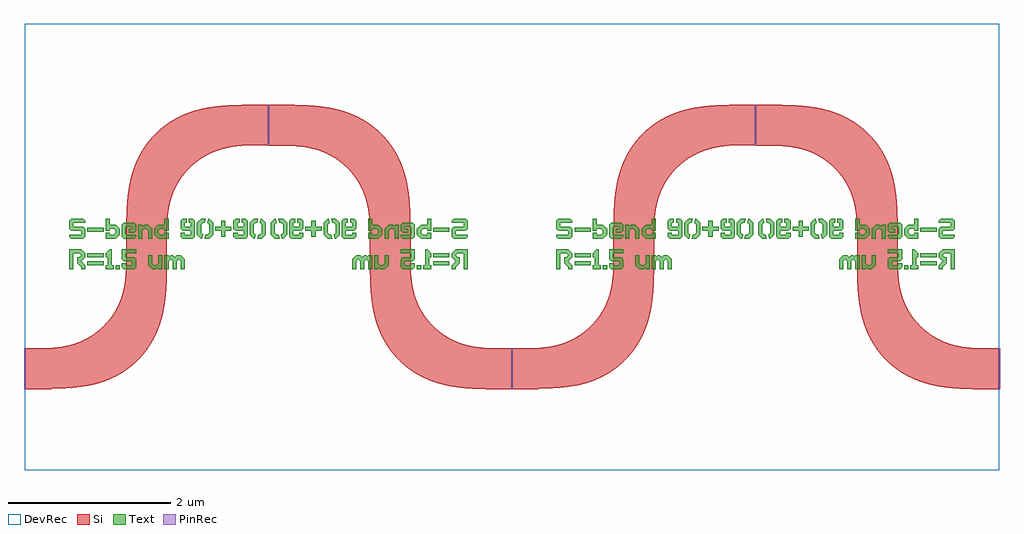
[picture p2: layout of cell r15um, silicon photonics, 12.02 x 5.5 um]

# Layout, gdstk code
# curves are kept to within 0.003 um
from math import pi, radians
import gdstk
lib = gdstk.Library(unit=1e-6, precision=1e-09)
def R(c, l, rs):  # rectangles x0, y0, x1, y1
    for r in rs: c.add(gdstk.rectangle(r[:2], r[2:], *l))
def P(c, l, *ps):  # polygons
    for p in ps: c.add(gdstk.Polygon(p, *l))
Si = (1, 0)
PinRec = (1, 10)
Text = (10, 0)
DevRec = (68, 0)

text_gdsfactorypcomponen = lib.new_cell('text_gdsfactorypcomponentsptextsptext_TSmbend_90+90*R1p_9bf7946b')
R(text_gdsfactorypcomponen, Text, [(0.6,-0.375,0.65,-0.325), (0.25,-0.325,0.45,-0.275), (0.25,-0.225,0.45,-0.175), (0.25,0.088,0.45,0.138)])
P(text_gdsfactorypcomponen, Text, [(1.125,0),(1.075,0.05),(1.075,0.125),(1.125,0.175),(1.2,0.175),(1.2,0.25),(1.25,0.25),(1.25,0.1),(1.2,0.1),(1.2,0.125),(1.15,0.125),(1.125,0.1),(1.125,0.075),(1.15,0.05),(1.2,0.05),(1.2,0.075),(1.25,0.075),(1.25,0)],
  [(0.475,0),(0.475,0.075),(0.525,0.075),(0.525,0.05),(0.575,0.05),(0.6,0.075),(0.6,0.1),(0.575,0.125),(0.525,0.125),(0.525,0.1),(0.475,0.1),(0.475,0.25),(0.525,0.25),(0.525,0.175),(0.6,0.175),(0.65,0.125),(0.65,0.05),(0.6,0)],
  [(2.3,0),(2.25,0.05),(2.25,0.2),(2.3,0.25),(2.358,0.25),(2.345,0.2),(2.325,0.2),(2.3,0.175),(2.3,0.075),(2.325,0.05),(2.313,0)],
  [(1.2,-0.375),(1.2,-0.2),(1.25,-0.2),(1.25,-0.225),(1.275,-0.2),(1.3,-0.2),(1.325,-0.225),(1.35,-0.2),(1.4,-0.2),(1.45,-0.25),(1.45,-0.375),(1.4,-0.375),(1.4,-0.275),(1.375,-0.25),(1.35,-0.275),(1.35,-0.375),(1.3,-0.375),(1.3,-0.275),(1.275,-0.25),(1.25,-0.275),(1.25,-0.375)],
  [(0.05,0),(0.025,0.025),(0.025,0.05),(0.175,0.05),(0.175,0.1),(0.05,0.1),(0.025,0.125),(0.025,0.225),(0.05,0.25),(0.2,0.25),(0.225,0.225),(0.225,0.2),(0.075,0.2),(0.075,0.15),(0.2,0.15),(0.225,0.125),(0.225,0.025),(0.2,0)],
  [(1.425,0),(1.4,0.025),(1.4,0.075),(1.45,0.075),(1.45,0.05),(1.525,0.05),(1.525,0.1),(1.425,0.1),(1.4,0.125),(1.4,0.225),(1.425,0.25),(1.475,0.25),(1.475,0.2),(1.45,0.2),(1.45,0.15),(1.525,0.15),(1.525,0.2),(1.5,0.2),(1.5,0.25),(1.55,0.25),(1.575,0.225),(1.575,0.025),(1.55,0)],
  [(2.075,0),(2.05,0.025),(2.05,0.075),(2.1,0.075),(2.1,0.05),(2.175,0.05),(2.175,0.1),(2.075,0.1),(2.05,0.125),(2.05,0.225),(2.075,0.25),(2.125,0.25),(2.125,0.2),(2.1,0.2),(2.1,0.15),(2.175,0.15),(2.175,0.2),(2.15,0.2),(2.15,0.25),(2.2,0.25),(2.225,0.225),(2.225,0.025),(2.2,0)],
  [(1.693,0),(1.705,0.05),(1.725,0.05),(1.75,0.075),(1.75,0.175),(1.725,0.2),(1.738,0.25),(1.75,0.25),(1.8,0.2),(1.8,0.05),(1.75,0)],
  [(2.343,0),(2.355,0.05),(2.375,0.05),(2.4,0.075),(2.4,0.175),(2.375,0.2),(2.388,0.25),(2.4,0.25),(2.45,0.2),(2.45,0.05),(2.4,0)],
  [(1.05,-0.375),(1,-0.325),(1,-0.2),(1.05,-0.2),(1.05,-0.3),(1.075,-0.325),(1.1,-0.325),(1.125,-0.3),(1.125,-0.2),(1.175,-0.2),(1.175,-0.375),(1.125,-0.375),(1.125,-0.35),(1.1,-0.375)],
  [(0.7,0),(0.675,0.025),(0.675,0.175),(0.7,0.2),(0.825,0.2),(0.85,0.175),(0.85,0.1),(0.825,0.075),(0.76,0.075),(0.76,0.125),(0.8,0.125),(0.8,0.15),(0.725,0.15),(0.725,0.05),(0.85,0.05),(0.85,0.025),(0.825,0)],
  [(0.475,-0.375),(0.475,-0.325),(0.5,-0.325),(0.5,-0.225),(0.475,-0.225),(0.475,-0.175),(0.525,-0.125),(0.55,-0.125),(0.55,-0.325),(0.575,-0.325),(0.575,-0.375)],
  [(0.025,-0.375),(0.025,-0.125),(0.175,-0.125),(0.225,-0.175),(0.225,-0.225),(0.175,-0.275),(0.225,-0.325),(0.225,-0.375),(0.175,-0.375),(0.175,-0.35),(0.125,-0.3),(0.125,-0.225),(0.15,-0.225),(0.175,-0.2),(0.15,-0.175),(0.075,-0.175),(0.075,-0.375)],
  [(0.7,-0.375),(0.675,-0.35),(0.675,-0.3),(0.725,-0.3),(0.725,-0.325),(0.8,-0.325),(0.8,-0.275),(0.7,-0.275),(0.675,-0.25),(0.675,-0.125),(0.85,-0.125),(0.85,-0.175),(0.725,-0.175),(0.725,-0.225),(0.825,-0.225),(0.85,-0.25),(0.85,-0.35),(0.825,-0.375)],
  [(1.9,0.025),(1.9,0.1),(1.825,0.1),(1.825,0.15),(1.9,0.15),(1.9,0.225),(1.95,0.225),(1.95,0.15),(2.025,0.15),(2.025,0.1),(1.95,0.1),(1.95,0.025)],
  [(0.875,0),(0.875,0.175),(0.925,0.175),(0.925,0.15),(0.95,0.175),(1,0.175),(1.05,0.125),(1.05,0),(1,0),(1,0.1),(0.975,0.125),(0.95,0.125),(0.925,0.1),(0.925,0)],
  [(1.65,0),(1.6,0.05),(1.6,0.2),(1.65,0.25),(1.708,0.25),(1.695,0.2),(1.675,0.2),(1.65,0.175),(1.65,0.075),(1.675,0.05),(1.662,0)])

topic_vw_sbend_r1p5 = lib.new_cell('TOPIC_VW_Sbend_R1p5')
P(topic_vw_sbend_r1p5, Si, [(0,-0.25),(0,0.25),(0.308,0.254),(0.414,0.263),(0.518,0.28),(0.612,0.305),(0.711,0.343),(0.797,0.388),(0.867,0.434),(0.957,0.509),(1.006,0.559),(1.054,0.617),(1.123,0.722),(1.181,0.847),(1.22,0.982),(1.24,1.113),(1.249,1.269),(1.25,1.5),(1.75,1.5),(1.749,1.177),(1.741,0.977),(1.723,0.806),(1.695,0.661),(1.642,0.492),(1.586,0.371),(1.506,0.243),(1.413,0.131),(1.352,0.071),(1.294,0.022),(1.17,-0.063),(1.094,-0.104),(1.008,-0.142),(0.867,-0.188),(0.714,-0.22),(0.523,-0.241),(0.323,-0.249)],
  [(1.25,1.5),(1.251,1.823),(1.259,2.023),(1.277,2.194),(1.305,2.339),(1.358,2.508),(1.414,2.629),(1.494,2.757),(1.587,2.869),(1.648,2.929),(1.706,2.978),(1.83,3.063),(1.906,3.104),(1.992,3.142),(2.133,3.188),(2.286,3.22),(2.477,3.241),(2.677,3.249),(3,3.25),(3,2.75),(2.692,2.746),(2.586,2.737),(2.482,2.72),(2.388,2.695),(2.289,2.657),(2.203,2.612),(2.133,2.566),(2.043,2.491),(1.994,2.441),(1.946,2.383),(1.877,2.278),(1.819,2.153),(1.78,2.018),(1.76,1.887),(1.751,1.731),(1.75,1.5)])
R(topic_vw_sbend_r1p5, DevRec, [(0,-1.25,3,4.25)])
topic_vw_sbend_r1p5.add(gdstk.FlexPath([(0.01,0),(-0.01,0)], 0.5, ends="flush", simple_path=True, layer=1, datatype=10))  # PinRec
topic_vw_sbend_r1p5.add(gdstk.FlexPath([(2.99,3),(3.01,3)], 0.5, ends="flush", simple_path=True, layer=1, datatype=10))  # PinRec
topic_vw_sbend_r1p5.add(gdstk.Reference(text_gdsfactorypcomponen, (0.52,1.6)))
topic_vw_sbend_r1p5.add(gdstk.Label('opt1', (0,0), layer=1, texttype=10))
topic_vw_sbend_r1p5.add(gdstk.Label('opt2', (3,3), layer=1, texttype=10))

r15um = lib.new_cell('r15um')
r15um.add(gdstk.Reference(topic_vw_sbend_r1p5, (0.01,1.25)))
r15um.add(gdstk.Reference(topic_vw_sbend_r1p5, (6.01,1.25)))
r15um.add(gdstk.Reference(topic_vw_sbend_r1p5, (6.01,1.25), rotation=pi, x_reflection=True))
r15um.add(gdstk.Reference(topic_vw_sbend_r1p5, (12.01,1.25), rotation=pi, x_reflection=True))

lib.write_gds('r15um.gds')
